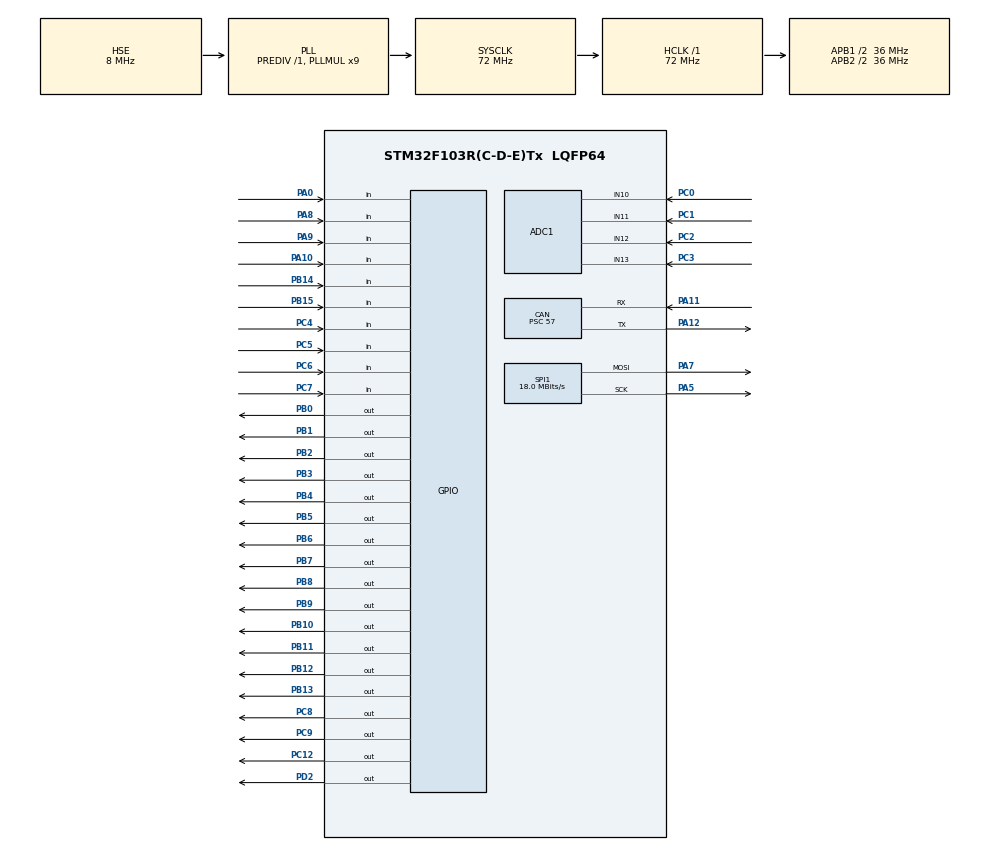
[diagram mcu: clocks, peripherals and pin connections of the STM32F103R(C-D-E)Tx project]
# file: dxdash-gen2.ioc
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ADC1.Channel-0\#ChannelRegularConversion=ADC_CHANNEL_10
ADC1.NbrOfConversionFlag=1
ADC1.Rank-0\#ChannelRegularConversion=1
ADC1.SamplingTime-0\#ChannelRegularConversion=ADC_SAMPLETIME_1CYCLE_5
ADC1.master=1
CAN.ABOM=ENABLE
CAN.BS1=CAN_BS1_3TQ
CAN.BS2=CAN_BS2_2TQ
CAN.CalculateBaudRate=105263
CAN.CalculateTimeBit=9500
CAN.CalculateTimeQuantum=1583.3333333333335
CAN.NART=ENABLE
CAN.Prescaler=57
Dma.Request0=SPI1_TX
Dma.SPI1_TX.0.Direction=DMA_MEMORY_TO_PERIPH
Dma.SPI1_TX.0.Instance=DMA1_Channel3
Dma.SPI1_TX.0.MemDataAlignment=DMA_MDATAALIGN_BYTE
Dma.SPI1_TX.0.MemInc=DMA_MINC_ENABLE
Dma.SPI1_TX.0.Mode=DMA_NORMAL
Dma.SPI1_TX.0.PeriphDataAlignment=DMA_PDATAALIGN_BYTE
Dma.SPI1_TX.0.PeriphInc=DMA_PINC_DISABLE
Dma.SPI1_TX.0.Priority=DMA_PRIORITY_LOW
Mcu.Family=STM32F1
Mcu.Name=STM32F103R(C-D-E)Tx
Mcu.Package=LQFP64
NVIC.DMA1_Channel3_IRQn=true\:0\:0\:false\:false\:true\:false\:true\:true
NVIC.PriorityGroup=NVIC_PRIORITYGROUP_4
NVIC.USB_HP_CAN1_TX_IRQn=true\:0\:0\:false\:false\:true\:true\:true\:true
NVIC.USB_LP_CAN1_RX0_IRQn=true\:0\:0\:false\:false\:true\:true\:true\:true
PA0-WKUP.Signal=GPIO_Input
PA10.Signal=GPIO_Input
PA11.Mode=CAN_Activate
PA11.Signal=CAN_RX
PA12.Mode=CAN_Activate
PA12.Signal=CAN_TX
PA5.Mode=TX_Only_Simplex_Unidirect_Master
PA5.Signal=SPI1_SCK
PA6.Signal=SPI1_MISO
PA7.Mode=TX_Only_Simplex_Unidirect_Master
PA7.Signal=SPI1_MOSI
PA8.Signal=GPIO_Input
PA9.Signal=GPIO_Input
PB0.Signal=GPIO_Output
PB1.Signal=GPIO_Output
PB10.Signal=GPIO_Output
PB11.Signal=GPIO_Output
PB12.Signal=GPIO_Output
PB13.Signal=GPIO_Output
PB14.Signal=GPIO_Input
PB15.Signal=GPIO_Input
PB2.Signal=GPIO_Output
PB3.Signal=GPIO_Output
PB4.Signal=GPIO_Output
PB5.Signal=GPIO_Output
PB6.Signal=GPIO_Output
PB7.Signal=GPIO_Output
PB8.Signal=GPIO_Output
PB9.Signal=GPIO_Output
PC0.Signal=ADCx_IN10
PC1.Signal=ADCx_IN11
PC10.Signal=UART4_TX
PC11.Signal=UART4_RX
PC12.Signal=GPIO_Output
PC2.Signal=ADCx_IN12
PC3.Signal=ADCx_IN13
PC4.Signal=GPIO_Input
PC5.Signal=GPIO_Input
PC6.Signal=GPIO_Input
PC7.Signal=GPIO_Input
PC8.Signal=GPIO_Output
PC9.Signal=GPIO_Output
PD0-OSC_IN.Mode=HSE-External-Oscillator
PD0-OSC_IN.Signal=RCC_OSC_IN
PD1-OSC_OUT.Mode=HSE-External-Oscillator
PD1-OSC_OUT.Signal=RCC_OSC_OUT
PD2.Signal=GPIO_Output
ProjectManager.HeapSize=0x200
ProjectManager.StackSize=0x400
ProjectManager.TargetToolchain=STM32CubeIDE
RCC.ADCPresc=RCC_ADCPCLK2_DIV4
RCC.AHBFreq_Value=72000000
RCC.APB1CLKDivider=RCC_HCLK_DIV2
RCC.APB1Freq_Value=36000000
RCC.APB1TimFreq_Value=72000000
RCC.APB2CLKDivider=RCC_HCLK_DIV2
RCC.APB2Freq_Value=36000000
RCC.APB2TimFreq_Value=72000000
RCC.HCLKFreq_Value=72000000
RCC.PLLMUL=RCC_PLL_MUL9
RCC.PLLSourceVirtual=RCC_PLLSOURCE_HSE
RCC.SYSCLKFreq_VALUE=72000000
RCC.SYSCLKSource=RCC_SYSCLKSOURCE_PLLCLK
RCC.USBFreq_Value=72000000
SH.ADCx_IN10.0=ADC1_IN10,IN10
SH.ADCx_IN11.0=ADC1_IN11,IN11
SH.ADCx_IN12.0=ADC1_IN12,IN12
SH.ADCx_IN13.0=ADC1_IN13,IN13
SPI1.CalculateBaudRate=18.0 MBits/s
SPI1.Direction=SPI_DIRECTION_2LINES
SPI1.Mode=SPI_MODE_MASTER
SPI1.VirtualType=VM_MASTER
board=custom

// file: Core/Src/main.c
/* USER CODE BEGIN Header */
/**
  ******************************************************************************
  * @file           : main.c
  * @brief          : Main program body
  ******************************************************************************
  * @attention
  *
  * Copyright (c) 2024 STMicroelectronics.
  * All rights reserved.
  *
  * This software is licensed under terms that can be found in the LICENSE file
  * in the root directory of this software component.
  * If no LICENSE file comes with this software, it is provided AS-IS.
  *
  ******************************************************************************
  */
/* USER CODE END Header */
#include "main.h"

/* USER CODE BEGIN Includes */
//#include "stm32f1xx_hal_can.h"
#include "hardwareAbstraction.h"
#include "scheduler.h"
#include "display.h"
#include "can_lowlayer.h"
#include "can_application.h"
/* USER CODE END Includes */

ADC_HandleTypeDef hadc1;

CAN_HandleTypeDef hcan;

SPI_HandleTypeDef hspi1;
DMA_HandleTypeDef hdma_spi1_tx;

void SystemClock_Config(void);
static void MX_GPIO_Init(void);
static void MX_DMA_Init(void);
static void MX_ADC1_Init(void);
static void MX_CAN_Init(void);
static void MX_SPI1_Init(void);

int main(void)
{

  /* MCU Configuration--------------------------------------------------------*/

  /* Reset of all peripherals, Initializes the Flash interface and the Systick. */
  HAL_Init();

  /* Configure the system clock */
  SystemClock_Config();

  /* Initialize all configured peripherals */
  MX_GPIO_Init();
  MX_DMA_Init();
  MX_ADC1_Init();
  MX_CAN_Init();
  MX_SPI1_Init();
  /* USER CODE BEGIN 2 */

  __HAL_RCC_AFIO_CLK_ENABLE();
  __HAL_AFIO_REMAP_SWJ_NOJTAG(); /* to enable the PB4 as GPIO, according to https://community.st.com/t5/stm32-mcus-products/stm32f103-how-to-use-pb4-as-normal-gpio-njtrst-remap-not-working/td-p/382398 */
  setKeepPower(1);
  display_init();
  HAL_ADC_Start(&hadc1); /* start the AD converter */
  can_init();
  scheduler_init(); /* The scheduler_init() shall be the last function in the init sequence, because here starts the timing reference. */
  /* USER CODE END 2 */

  /* Infinite loop */
  while (1)
  {

    /* USER CODE BEGIN 3 */
	  scheduler_cyclic();
  }
  /* USER CODE END 3 */
}

void SystemClock_Config(void)
{
  RCC_OscInitTypeDef RCC_OscInitStruct = {0};
  RCC_ClkInitTypeDef RCC_ClkInitStruct = {0};
  RCC_PeriphCLKInitTypeDef PeriphClkInit = {0};

  /** Initializes the RCC Oscillators according to the specified parameters
  * in the RCC_OscInitTypeDef structure.
  */
  RCC_OscInitStruct.OscillatorType = RCC_OSCILLATORTYPE_HSE;
  RCC_OscInitStruct.HSEState = RCC_HSE_ON;
  RCC_OscInitStruct.HSEPredivValue = RCC_HSE_PREDIV_DIV1;
  RCC_OscInitStruct.HSIState = RCC_HSI_ON;
  RCC_OscInitStruct.PLL.PLLState = RCC_PLL_ON;
  RCC_OscInitStruct.PLL.PLLSource = RCC_PLLSOURCE_HSE;
  RCC_OscInitStruct.PLL.PLLMUL = RCC_PLL_MUL9;
  if (HAL_RCC_OscConfig(&RCC_OscInitStruct) != HAL_OK)
  {
    Error_Handler();
  }

  /** Initializes the CPU, AHB and APB buses clocks
  */
  RCC_ClkInitStruct.ClockType = RCC_CLOCKTYPE_HCLK|RCC_CLOCKTYPE_SYSCLK
                              |RCC_CLOCKTYPE_PCLK1|RCC_CLOCKTYPE_PCLK2;
  RCC_ClkInitStruct.SYSCLKSource = RCC_SYSCLKSOURCE_PLLCLK;
  RCC_ClkInitStruct.AHBCLKDivider = RCC_SYSCLK_DIV1;
  RCC_ClkInitStruct.APB1CLKDivider = RCC_HCLK_DIV2;
  RCC_ClkInitStruct.APB2CLKDivider = RCC_HCLK_DIV2;

  if (HAL_RCC_ClockConfig(&RCC_ClkInitStruct, FLASH_LATENCY_2) != HAL_OK)
  {
    Error_Handler();
  }
  PeriphClkInit.PeriphClockSelection = RCC_PERIPHCLK_ADC;
  PeriphClkInit.AdcClockSelection = RCC_ADCPCLK2_DIV4;
  if (HAL_RCCEx_PeriphCLKConfig(&PeriphClkInit) != HAL_OK)
  {
    Error_Handler();
  }
}

static void MX_ADC1_Init(void)
{

  ADC_ChannelConfTypeDef sConfig = {0};

  /** Common config
  */
  hadc1.Instance = ADC1;
  hadc1.Init.ScanConvMode = ADC_SCAN_DISABLE;
  hadc1.Init.ContinuousConvMode = DISABLE;
  hadc1.Init.DiscontinuousConvMode = DISABLE;
  hadc1.Init.ExternalTrigConv = ADC_SOFTWARE_START;
  hadc1.Init.DataAlign = ADC_DATAALIGN_RIGHT;
  hadc1.Init.NbrOfConversion = 1;
  if (HAL_ADC_Init(&hadc1) != HAL_OK)
  {
    Error_Handler();
  }

  /** Configure Regular Channel
  */
  sConfig.Channel = ADC_CHANNEL_10;
  sConfig.Rank = ADC_REGULAR_RANK_1;
  sConfig.SamplingTime = ADC_SAMPLETIME_1CYCLE_5;
  if (HAL_ADC_ConfigChannel(&hadc1, &sConfig) != HAL_OK)
  {
    Error_Handler();
  }

}

static void MX_CAN_Init(void)
{

  hcan.Instance = CAN1;
  hcan.Init.Prescaler = 57;
  hcan.Init.Mode = CAN_MODE_NORMAL;
  hcan.Init.SyncJumpWidth = CAN_SJW_1TQ;
  hcan.Init.TimeSeg1 = CAN_BS1_3TQ;
  hcan.Init.TimeSeg2 = CAN_BS2_2TQ;
  hcan.Init.TimeTriggeredMode = DISABLE;
  hcan.Init.AutoBusOff = ENABLE;
  hcan.Init.AutoWakeUp = DISABLE;
  hcan.Init.AutoRetransmission = ENABLE;
  hcan.Init.ReceiveFifoLocked = DISABLE;
  hcan.Init.TransmitFifoPriority = DISABLE;
  if (HAL_CAN_Init(&hcan) != HAL_OK)
  {
    Error_Handler();
  }
  /* USER CODE BEGIN CAN_Init 2 */
  CAN_FilterTypeDef sf;
  sf.FilterMaskIdHigh = 0x0000;
  sf.FilterMaskIdLow = 0x0000;
  sf.FilterFIFOAssignment = CAN_FILTER_FIFO0;
  sf.FilterBank = 0;
  sf.FilterMode = CAN_FILTERMODE_IDMASK;
  sf.FilterScale = CAN_FILTERSCALE_32BIT;
  sf.FilterActivation = CAN_FILTER_ENABLE;
  if (HAL_CAN_ConfigFilter(&hcan, &sf) != HAL_OK) {
    Error_Handler();
  }

  can_lowlayer_registerCallbacks();

  if (HAL_CAN_Start(&hcan) != HAL_OK) {
    Error_Handler();
  }

  if (HAL_CAN_ActivateNotification(&hcan, CAN_IT_RX_FIFO0_MSG_PENDING) != HAL_OK) {
    Error_Handler();
  }
  if (HAL_CAN_ActivateNotification(&hcan, CAN_IT_TX_MAILBOX_EMPTY) != HAL_OK) {
    Error_Handler();
  }
  /* USER CODE END CAN_Init 2 */

}

static void MX_SPI1_Init(void)
{

  /* SPI1 parameter configuration*/
  hspi1.Instance = SPI1;
  hspi1.Init.Mode = SPI_MODE_MASTER;
  hspi1.Init.Direction = SPI_DIRECTION_2LINES;
  hspi1.Init.DataSize = SPI_DATASIZE_8BIT;
  hspi1.Init.CLKPolarity = SPI_POLARITY_LOW;
  hspi1.Init.CLKPhase = SPI_PHASE_1EDGE;
  hspi1.Init.NSS = SPI_NSS_SOFT;
  hspi1.Init.BaudRatePrescaler = SPI_BAUDRATEPRESCALER_2;
  hspi1.Init.FirstBit = SPI_FIRSTBIT_MSB;
  hspi1.Init.TIMode = SPI_TIMODE_DISABLE;
  hspi1.Init.CRCCalculation = SPI_CRCCALCULATION_DISABLE;
  hspi1.Init.CRCPolynomial = 10;
  if (HAL_SPI_Init(&hspi1) != HAL_OK)
  {
    Error_Handler();
  }

}

static void MX_DMA_Init(void)
{

  /* DMA controller clock enable */
  __HAL_RCC_DMA1_CLK_ENABLE();

  /* DMA interrupt init */
  /* DMA1_Channel3_IRQn interrupt configuration */
  HAL_NVIC_SetPriority(DMA1_Channel3_IRQn, 0, 0);
  HAL_NVIC_EnableIRQ(DMA1_Channel3_IRQn);

}

static void MX_GPIO_Init(void)
{
  GPIO_InitTypeDef GPIO_InitStruct = {0};

  /* GPIO Ports Clock Enable */
  __HAL_RCC_GPIOD_CLK_ENABLE();
  __HAL_RCC_GPIOC_CLK_ENABLE();
  __HAL_RCC_GPIOA_CLK_ENABLE();
  __HAL_RCC_GPIOB_CLK_ENABLE();

  /*Configure GPIO pin Output Level */
  HAL_GPIO_WritePin(GPIOB, GPIO_PIN_0|GPIO_PIN_1|GPIO_PIN_2|GPIO_PIN_10
                          |GPIO_PIN_11|GPIO_PIN_12|GPIO_PIN_13|GPIO_PIN_3
                          |GPIO_PIN_4|GPIO_PIN_5|GPIO_PIN_6|GPIO_PIN_7
                          |GPIO_PIN_8|GPIO_PIN_9, GPIO_PIN_RESET);

  /*Configure GPIO pin Output Level */
  HAL_GPIO_WritePin(GPIOC, GPIO_PIN_8|GPIO_PIN_9|GPIO_PIN_12, GPIO_PIN_RESET);

  /*Configure GPIO pin Output Level */
  HAL_GPIO_WritePin(GPIOD, GPIO_PIN_2, GPIO_PIN_RESET);

  /*Configure GPIO pins : PA0 PA8 PA9 PA10 */
  GPIO_InitStruct.Pin = GPIO_PIN_0|GPIO_PIN_8|GPIO_PIN_9|GPIO_PIN_10;
  GPIO_InitStruct.Mode = GPIO_MODE_INPUT;
  GPIO_InitStruct.Pull = GPIO_NOPULL;
  HAL_GPIO_Init(GPIOA, &GPIO_InitStruct);

  /*Configure GPIO pins : PC4 PC5 PC6 PC7 */
  GPIO_InitStruct.Pin = GPIO_PIN_4|GPIO_PIN_5|GPIO_PIN_6|GPIO_PIN_7;
  GPIO_InitStruct.Mode = GPIO_MODE_INPUT;
  GPIO_InitStruct.Pull = GPIO_NOPULL;
  HAL_GPIO_Init(GPIOC, &GPIO_InitStruct);

  /*Configure GPIO pins : PB0 PB1 PB2 PB10
                           PB11 PB12 PB13 PB3
                           PB4 PB5 PB6 PB7
                           PB8 PB9 */
  GPIO_InitStruct.Pin = GPIO_PIN_0|GPIO_PIN_1|GPIO_PIN_2|GPIO_PIN_10
                          |GPIO_PIN_11|GPIO_PIN_12|GPIO_PIN_13|GPIO_PIN_3
                          |GPIO_PIN_4|GPIO_PIN_5|GPIO_PIN_6|GPIO_PIN_7
                          |GPIO_PIN_8|GPIO_PIN_9;
  GPIO_InitStruct.Mode = GPIO_MODE_OUTPUT_PP;
  GPIO_InitStruct.Pull = GPIO_NOPULL;
  GPIO_InitStruct.Speed = GPIO_SPEED_FREQ_LOW;
  HAL_GPIO_Init(GPIOB, &GPIO_InitStruct);

  /*Configure GPIO pins : PB14 PB15 */
  GPIO_InitStruct.Pin = GPIO_PIN_14|GPIO_PIN_15;
  GPIO_InitStruct.Mode = GPIO_MODE_INPUT;
  GPIO_InitStruct.Pull = GPIO_NOPULL;
  HAL_GPIO_Init(GPIOB, &GPIO_InitStruct);

  /*Configure GPIO pins : PC8 PC9 PC12 */
  GPIO_InitStruct.Pin = GPIO_PIN_8|GPIO_PIN_9|GPIO_PIN_12;
  GPIO_InitStruct.Mode = GPIO_MODE_OUTPUT_PP;
  GPIO_InitStruct.Pull = GPIO_NOPULL;
  GPIO_InitStruct.Speed = GPIO_SPEED_FREQ_LOW;
  HAL_GPIO_Init(GPIOC, &GPIO_InitStruct);

  /*Configure GPIO pin : PC10 */
  GPIO_InitStruct.Pin = GPIO_PIN_10;
  GPIO_InitStruct.Mode = GPIO_MODE_AF_PP;
  GPIO_InitStruct.Speed = GPIO_SPEED_FREQ_HIGH;
  HAL_GPIO_Init(GPIOC, &GPIO_InitStruct);

  /*Configure GPIO pin : PC11 */
  GPIO_InitStruct.Pin = GPIO_PIN_11;
  GPIO_InitStruct.Mode = GPIO_MODE_INPUT;
  GPIO_InitStruct.Pull = GPIO_NOPULL;
  HAL_GPIO_Init(GPIOC, &GPIO_InitStruct);

  /*Configure GPIO pin : PD2 */
  GPIO_InitStruct.Pin = GPIO_PIN_2;
  GPIO_InitStruct.Mode = GPIO_MODE_OUTPUT_PP;
  GPIO_InitStruct.Pull = GPIO_NOPULL;
  GPIO_InitStruct.Speed = GPIO_SPEED_FREQ_LOW;
  HAL_GPIO_Init(GPIOD, &GPIO_InitStruct);

}

void Error_Handler(void)
{
  __disable_irq();
  while (1)
  {
  }
}
